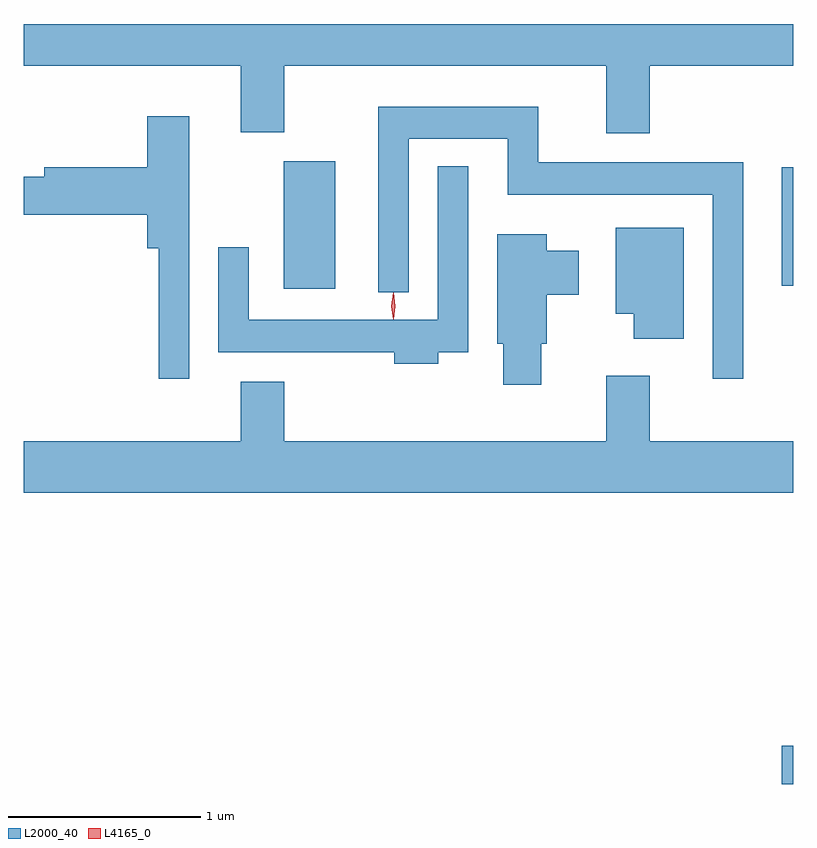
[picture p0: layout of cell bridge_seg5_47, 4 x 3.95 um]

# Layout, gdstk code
import gdstk
lib = gdstk.Library(unit=1e-6, precision=1e-09)
def R(c, l, rs):  # rectangles x0, y0, x1, y1
    for r in rs: c.add(gdstk.rectangle(r[:2], r[2:], *l))
def P(c, l, *ps):  # polygons
    for p in ps: c.add(gdstk.Polygon(p, *l))
L2000_40 = (2000, 40)
L4165_0 = (4165, 0)

bridge_seg5_47 = lib.new_cell('bridge_seg5_47')
R(bridge_seg5_47, L2000_40, [(1346.356,1470.821,1346.414,1471.019), (1343.766,1473.396,1344.034,1474.059), (1346.356,1473.411,1346.414,1474.029)])
P(bridge_seg5_47, L2000_40, [(1345.669,1474.556),(1346.414,1474.556),(1346.414,1474.773),(1342.414,1474.773),(1342.414,1474.556),(1343.541,1474.556),(1343.541,1474.211),(1343.769,1474.211),(1343.769,1474.556),(1345.441,1474.556),(1345.441,1474.206),(1345.669,1474.206)],
  [(1346.154,1474.054),(1345.089,1474.054),(1345.089,1474.344),(1344.256,1474.344),(1344.256,1473.378),(1344.414,1473.378),(1344.414,1474.176),(1344.931,1474.176),(1344.931,1473.886),(1345.996,1473.886),(1345.996,1472.928),(1346.154,1472.928)],
  [(1343.274,1474.294),(1343.056,1474.294),(1343.056,1474.029),(1342.521,1474.029),(1342.521,1473.979),(1342.414,1473.979),(1342.414,1473.781),(1343.056,1473.781),(1343.056,1473.606),(1343.116,1473.606),(1343.116,1472.928),(1343.274,1472.928)],
  [(1344.569,1473.066),(1344.724,1473.066),(1344.724,1474.033),(1344.566,1474.033),(1344.566,1473.234),(1343.584,1473.234),(1343.584,1473.613),(1343.426,1473.613),(1343.426,1473.066),(1344.341,1473.066),(1344.341,1473.006),(1344.569,1473.006)],
  [(1345.844,1473.714),(1345.491,1473.714),(1345.491,1473.266),(1345.586,1473.266),(1345.586,1473.136),(1345.844,1473.136)],
  [(1345.104,1473.111),(1345.134,1473.111),(1345.134,1473.366),(1345.299,1473.366),(1345.299,1473.594),(1345.134,1473.594),(1345.134,1473.679),(1344.876,1473.679),(1344.876,1473.111),(1344.906,1473.111),(1344.906,1472.896),(1345.104,1472.896)],
  [(1346.414,1472.604),(1345.669,1472.604),(1345.669,1472.944),(1345.441,1472.944),(1345.441,1472.604),(1343.769,1472.604),(1343.769,1472.914),(1343.541,1472.914),(1343.541,1472.604),(1342.414,1472.604),(1342.414,1472.336),(1346.414,1472.336)])
P(bridge_seg5_47, L4165_0, [(1344.334,1473.237),(1344.325,1473.306),(1344.334,1473.376),(1344.335,1473.376),(1344.336,1473.376),(1344.345,1473.306),(1344.336,1473.237),(1344.335,1473.237)],
  [(1344.335,1473.239),(1344.334,1473.24),(1344.325,1473.306),(1344.334,1473.372),(1344.335,1473.373),(1344.335,1473.372),(1344.345,1473.306),(1344.335,1473.24)])

lib.write_gds('bridge_seg5_47.gds')
